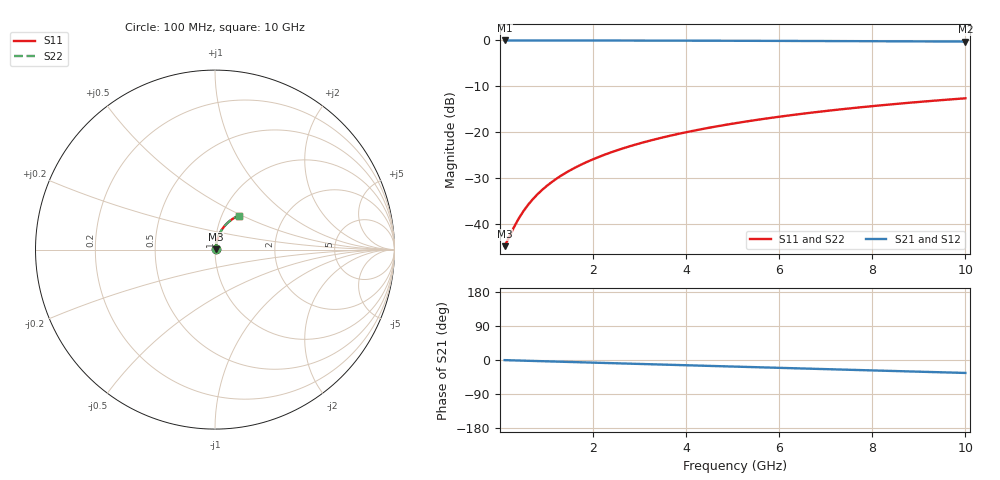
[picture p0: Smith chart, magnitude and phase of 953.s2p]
# Hz S RI R 50.00
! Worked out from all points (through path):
!   100 points, 100 MHz to 10 GHz, reference 50 ohm
!   highest |S21| = -0.04 dB at 100 MHz (marker M1); lowest = -0.3 dB at 10 GHz (marker M2)
!   group delay of S21, straight-line fit = 9.5 ps
!   lowest |S11| = -44.9 dB at 100 MHz (marker M3), VSWR 1.01, Z = 50.5 + j0.25 ohm
!   |S11| at or under -10 dB: start of sweep to end of sweep
!   |S22| runs from -44.9 to -12.7 dB; largest |S21 - S12| = 0
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1e8  0.0051 0.00248  0.9949 -0.00602  0.9949 -0.00602  0.0051 0.00248
3e8  0.00528 0.00743  0.9947 -0.0181  0.9947 -0.0181  0.00528 0.00743
4e8  0.0054 0.00991  0.9945 -0.0241  0.9945 -0.0241  0.0054 0.00991
5e8  0.00555 0.0124  0.9943 -0.0301  0.9943 -0.0301  0.00555 0.0124
6e8  0.00573 0.0148  0.994 -0.0361  0.994 -0.0361  0.00573 0.0148
7e8  0.00594 0.0173  0.9937 -0.0421  0.9937 -0.0421  0.00594 0.0173
8e8  0.00618 0.0198  0.9934 -0.0481  0.9934 -0.0481  0.00618 0.0198
1e9  0.00673 0.0247  0.9926 -0.0601  0.9926 -0.0601  0.00673 0.0247
1.2e9  0.00741 0.0296  0.9916 -0.0721  0.9916 -0.0721  0.00741 0.0296
1.5e9  0.00864 0.0369  0.9899 -0.0901  0.9899 -0.0901  0.00864 0.0369
1.8e9  0.0101 0.0442  0.9878 -0.108  0.9878 -0.108  0.0101 0.0442
2.1e9  0.0119 0.0514  0.9853 -0.1258  0.9853 -0.1258  0.0119 0.0514
2.5e9  0.0146 0.0609  0.9813 -0.1494  0.9813 -0.1494  0.0146 0.0609
2.9e9  0.0178 0.0702  0.9768 -0.173  0.9768 -0.173  0.0178 0.0702
3.4e9  0.0224 0.0816  0.9702 -0.2021  0.9702 -0.2021  0.0224 0.0816
4.2e9  0.0312 0.0992  0.9575 -0.248  0.9575 -0.248  0.0312 0.0992
5.1e9  0.043 0.1179  0.9404 -0.2986  0.9404 -0.2986  0.043 0.1179
5.9e9  0.055 0.1332  0.9226 -0.3422  0.9226 -0.3422  0.055 0.1332
6.7e9  0.0684 0.1473  0.9027 -0.3846  0.9027 -0.3846  0.0684 0.1473
7.5e9  0.083 0.1599  0.8807 -0.4255  0.8807 -0.4255  0.083 0.1599
8.4e9  0.1007 0.1724  0.8536 -0.4697  0.8536 -0.4697  0.1007 0.1724
1e10  0.1348 0.1896  0.8001 -0.5432  0.8001 -0.5432  0.1348 0.1896
